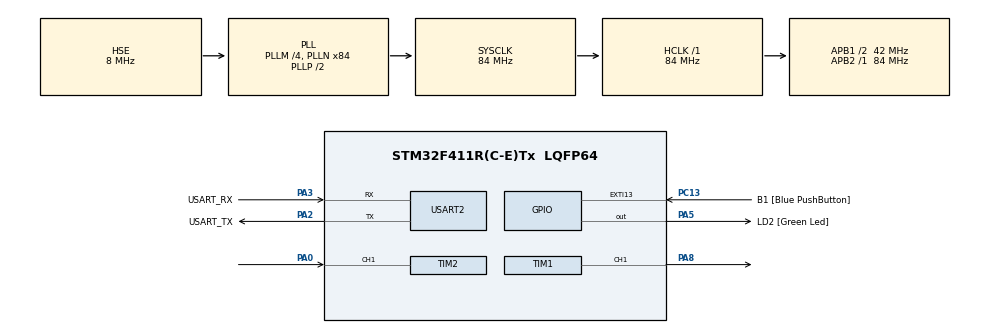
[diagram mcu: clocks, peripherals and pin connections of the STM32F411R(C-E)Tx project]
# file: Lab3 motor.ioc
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Dma.Request0=TIM2_CH1
Dma.TIM2_CH1.0.Direction=DMA_PERIPH_TO_MEMORY
Dma.TIM2_CH1.0.FIFOMode=DMA_FIFOMODE_DISABLE
Dma.TIM2_CH1.0.Instance=DMA1_Stream5
Dma.TIM2_CH1.0.MemDataAlignment=DMA_MDATAALIGN_WORD
Dma.TIM2_CH1.0.MemInc=DMA_MINC_ENABLE
Dma.TIM2_CH1.0.Mode=DMA_CIRCULAR
Dma.TIM2_CH1.0.PeriphDataAlignment=DMA_PDATAALIGN_WORD
Dma.TIM2_CH1.0.PeriphInc=DMA_PINC_DISABLE
Dma.TIM2_CH1.0.Priority=DMA_PRIORITY_LOW
Mcu.Family=STM32F4
Mcu.Name=STM32F411R(C-E)Tx
Mcu.Package=LQFP64
NVIC.DMA1_Stream5_IRQn=true\:0\:0\:false\:false\:true\:false\:true\:true
NVIC.PriorityGroup=NVIC_PRIORITYGROUP_0
PA0-WKUP.Signal=S_TIM2_CH1_ETR
PA13.GPIO_Label=TMS
PA13.Mode=Serial_Wire
PA13.Signal=SYS_JTMS-SWDIO
PA14.GPIO_Label=TCK
PA14.Mode=Serial_Wire
PA14.Signal=SYS_JTCK-SWCLK
PA2.GPIO_Label=USART_TX
PA2.Mode=Asynchronous
PA2.Signal=USART2_TX
PA3.GPIO_Label=USART_RX
PA3.Mode=Asynchronous
PA3.Signal=USART2_RX
PA5.GPIO_Label=LD2 [Green Led]
PA5.Signal=GPIO_Output
PA8.Signal=S_TIM1_CH1
PB3.GPIO_Label=SWO
PB3.Signal=SYS_JTDO-SWO
PC13-ANTI_TAMP.GPIO_Label=B1 [Blue PushButton]
PC13-ANTI_TAMP.GPIO_ModeDefaultEXTI=GPIO_MODE_IT_FALLING
PC13-ANTI_TAMP.Signal=GPXTI13
PC14-OSC32_IN.Mode=LSE-External-Oscillator
PC14-OSC32_IN.Signal=RCC_OSC32_IN
PC15-OSC32_OUT.Mode=LSE-External-Oscillator
PC15-OSC32_OUT.Signal=RCC_OSC32_OUT
PH0\ -\ OSC_IN.Mode=HSE-External-Clock-Source
PH0\ -\ OSC_IN.Signal=RCC_OSC_IN
PH1\ -\ OSC_OUT.Mode=HSE-External-Clock-Source
PH1\ -\ OSC_OUT.Signal=RCC_OSC_OUT
ProjectManager.HeapSize=0x200
ProjectManager.StackSize=0x400
ProjectManager.TargetToolchain=STM32CubeIDE
RCC.48MHZClocksFreq_Value=42000000
RCC.AHBFreq_Value=84000000
RCC.APB1CLKDivider=RCC_HCLK_DIV2
RCC.APB1Freq_Value=42000000
RCC.APB1TimFreq_Value=84000000
RCC.APB2Freq_Value=84000000
RCC.APB2TimFreq_Value=84000000
RCC.CortexFreq_Value=84000000
RCC.FLatency-AdvancedSettings=FLASH_LATENCY_2
RCC.HCLKFreq_Value=84000000
RCC.HSE_VALUE=8000000
RCC.HSI_VALUE=16000000
RCC.PLLM=4
RCC.PLLN=84
RCC.PLLSourceVirtual=RCC_PLLSOURCE_HSE
RCC.SYSCLKFreq_VALUE=84000000
RCC.SYSCLKSource=RCC_SYSCLKSOURCE_PLLCLK
RCC.VCOOutputFreq_Value=168000000
SH.S_TIM1_CH1.0=TIM1_CH1,PWM Generation1 CH1
SH.S_TIM2_CH1_ETR.0=TIM2_CH1,Input_Capture1_from_TI1
TIM1.Channel-PWM\ Generation1\ CH1=TIM_CHANNEL_1
TIM1.Period=999
TIM1.Prescaler=83
TIM1.Pulse-PWM\ Generation1\ CH1=500
TIM2.Channel-Input_Capture1_from_TI1=TIM_CHANNEL_1
TIM2.ICFilter_CH1=10
TIM2.Period=4294967295
TIM2.Prescaler=83
USART2.VirtualMode=VM_ASYNC
VP_TIM1_VS_ClockSourceINT.Mode=Internal
VP_TIM2_VS_ClockSourceINT.Mode=Internal
board=NUCLEO-F411RE

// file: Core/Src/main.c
/* USER CODE BEGIN Header */
/**
  ******************************************************************************
  * @file           : main.c
  * @brief          : Main program body
  ******************************************************************************
  * @attention
  *
  * Copyright (c) 2023 STMicroelectronics.
  * All rights reserved.
  *
  * This software is licensed under terms that can be found in the LICENSE file
  * in the root directory of this software component.
  * If no LICENSE file comes with this software, it is provided AS-IS.
  *
  ******************************************************************************
  */
/* USER CODE END Header */
#include "main.h"

/* USER CODE BEGIN Includes */
#define IC_BUFFER_SIZE 20
//Phanwaphat Lohasummakul 69
/* USER CODE END Includes */

TIM_HandleTypeDef htim1;
TIM_HandleTypeDef htim2;
DMA_HandleTypeDef hdma_tim2_ch1;

UART_HandleTypeDef huart2;

/* USER CODE BEGIN PV */
uint32_t InputCaptureBuffer[IC_BUFFER_SIZE];
float averageRisingedgePeriod_current;
float averageRisingedgePeriod_last;
float MotorReadRPM;
int MotorSetRPM = 0;
int MotorControlEnable = 0;
int MotorSetDuty = 0;
int x = 0;
int y = 0;
/* USER CODE END PV */

void SystemClock_Config(void);
static void MX_GPIO_Init(void);
static void MX_DMA_Init(void);
static void MX_USART2_UART_Init(void);
static void MX_TIM1_Init(void);
static void MX_TIM2_Init(void);
/* USER CODE BEGIN PFP */
float IC_Calc_Period();
/* USER CODE END PFP */

int main(void)
{

  /* MCU Configuration--------------------------------------------------------*/

  /* Reset of all peripherals, Initializes the Flash interface and the Systick. */
  HAL_Init();

  /* Configure the system clock */
  SystemClock_Config();

  /* Initialize all configured peripherals */
  MX_GPIO_Init();
  MX_DMA_Init();
  MX_USART2_UART_Init();
  MX_TIM1_Init();
  MX_TIM2_Init();
  /* USER CODE BEGIN 2 */
  HAL_TIM_Base_Start(&htim2);
  HAL_TIM_IC_Start_DMA(&htim2, TIM_CHANNEL_1, InputCaptureBuffer, IC_BUFFER_SIZE);

  HAL_TIM_Base_Start(&htim1);
  HAL_TIM_PWM_Start(&htim1, TIM_CHANNEL_1);
  /* USER CODE END 2 */

  /* Infinite loop */
  while (1)
  {

    /* USER CODE BEGIN 3 */
	static uint32_t timestamp = 0;
	if (HAL_GetTick() >= timestamp)
	{
	  timestamp = HAL_GetTick()+500;
	  averageRisingedgePeriod_current = IC_Calc_Period();
	  if(averageRisingedgePeriod_current == 0) MotorReadRPM = 0;
	  else MotorReadRPM = 60000000/(averageRisingedgePeriod_current*12*64);

//	  __HAL_TIM_SET_COMPARE(&htim1, TIM_CHANNEL_1,MotorSetDuty*10);

	  switch(MotorControlEnable)
	  {
	  case 0:
		  __HAL_TIM_SET_COMPARE(&htim1, TIM_CHANNEL_1,MotorSetDuty*10);

		  x = 0;

		  break;
	  case 1:
		  if (MotorSetRPM > MotorReadRPM)
		  {
			  x += 1;
			  y = MotorSetDuty+x;
			  if ((MotorSetDuty+x) <= 100)
				  __HAL_TIM_SET_COMPARE(&htim1, TIM_CHANNEL_1,(MotorSetDuty+x)*10);
			  else
			  {
				  __HAL_TIM_SET_COMPARE(&htim1, TIM_CHANNEL_1,100*10);
				  x -= 1;
			  }
		  }
		  else if (MotorSetRPM < MotorReadRPM)
		  {
			  x -= 1;
			  y = MotorSetDuty+x;
			  if ((MotorSetDuty+x) > 0)
				  __HAL_TIM_SET_COMPARE(&htim1, TIM_CHANNEL_1,(MotorSetDuty+x)*10);
			  else
			  {
				  __HAL_TIM_SET_COMPARE(&htim1, TIM_CHANNEL_1,0*10);
				  MotorReadRPM = 0;
				  x += 1;
			  }
		  }
//		  else if (MotorSetRPM == 0)
//		  {
//
//		  }
		  break;
	  }
	}

  }
  /* USER CODE END 3 */
}

void SystemClock_Config(void)
{
  RCC_OscInitTypeDef RCC_OscInitStruct = {0};
  RCC_ClkInitTypeDef RCC_ClkInitStruct = {0};

  /** Configure the main internal regulator output voltage
  */
  __HAL_RCC_PWR_CLK_ENABLE();
  __HAL_PWR_VOLTAGESCALING_CONFIG(PWR_REGULATOR_VOLTAGE_SCALE1);

  /** Initializes the RCC Oscillators according to the specified parameters
  * in the RCC_OscInitTypeDef structure.
  */
  RCC_OscInitStruct.OscillatorType = RCC_OSCILLATORTYPE_HSE;
  RCC_OscInitStruct.HSEState = RCC_HSE_BYPASS;
  RCC_OscInitStruct.PLL.PLLState = RCC_PLL_ON;
  RCC_OscInitStruct.PLL.PLLSource = RCC_PLLSOURCE_HSE;
  RCC_OscInitStruct.PLL.PLLM = 4;
  RCC_OscInitStruct.PLL.PLLN = 84;
  RCC_OscInitStruct.PLL.PLLP = RCC_PLLP_DIV2;
  RCC_OscInitStruct.PLL.PLLQ = 4;
  if (HAL_RCC_OscConfig(&RCC_OscInitStruct) != HAL_OK)
  {
    Error_Handler();
  }

  /** Initializes the CPU, AHB and APB buses clocks
  */
  RCC_ClkInitStruct.ClockType = RCC_CLOCKTYPE_HCLK|RCC_CLOCKTYPE_SYSCLK
                              |RCC_CLOCKTYPE_PCLK1|RCC_CLOCKTYPE_PCLK2;
  RCC_ClkInitStruct.SYSCLKSource = RCC_SYSCLKSOURCE_PLLCLK;
  RCC_ClkInitStruct.AHBCLKDivider = RCC_SYSCLK_DIV1;
  RCC_ClkInitStruct.APB1CLKDivider = RCC_HCLK_DIV2;
  RCC_ClkInitStruct.APB2CLKDivider = RCC_HCLK_DIV1;

  if (HAL_RCC_ClockConfig(&RCC_ClkInitStruct, FLASH_LATENCY_2) != HAL_OK)
  {
    Error_Handler();
  }
}

static void MX_TIM1_Init(void)
{

  TIM_ClockConfigTypeDef sClockSourceConfig = {0};
  TIM_MasterConfigTypeDef sMasterConfig = {0};
  TIM_OC_InitTypeDef sConfigOC = {0};
  TIM_BreakDeadTimeConfigTypeDef sBreakDeadTimeConfig = {0};

  htim1.Instance = TIM1;
  htim1.Init.Prescaler = 83;
  htim1.Init.CounterMode = TIM_COUNTERMODE_UP;
  htim1.Init.Period = 999;
  htim1.Init.ClockDivision = TIM_CLOCKDIVISION_DIV1;
  htim1.Init.RepetitionCounter = 0;
  htim1.Init.AutoReloadPreload = TIM_AUTORELOAD_PRELOAD_DISABLE;
  if (HAL_TIM_Base_Init(&htim1) != HAL_OK)
  {
    Error_Handler();
  }
  sClockSourceConfig.ClockSource = TIM_CLOCKSOURCE_INTERNAL;
  if (HAL_TIM_ConfigClockSource(&htim1, &sClockSourceConfig) != HAL_OK)
  {
    Error_Handler();
  }
  if (HAL_TIM_PWM_Init(&htim1) != HAL_OK)
  {
    Error_Handler();
  }
  sMasterConfig.MasterOutputTrigger = TIM_TRGO_RESET;
  sMasterConfig.MasterSlaveMode = TIM_MASTERSLAVEMODE_DISABLE;
  if (HAL_TIMEx_MasterConfigSynchronization(&htim1, &sMasterConfig) != HAL_OK)
  {
    Error_Handler();
  }
  sConfigOC.OCMode = TIM_OCMODE_PWM1;
  sConfigOC.Pulse = 500;
  sConfigOC.OCPolarity = TIM_OCPOLARITY_HIGH;
  sConfigOC.OCNPolarity = TIM_OCNPOLARITY_HIGH;
  sConfigOC.OCFastMode = TIM_OCFAST_DISABLE;
  sConfigOC.OCIdleState = TIM_OCIDLESTATE_RESET;
  sConfigOC.OCNIdleState = TIM_OCNIDLESTATE_RESET;
  if (HAL_TIM_PWM_ConfigChannel(&htim1, &sConfigOC, TIM_CHANNEL_1) != HAL_OK)
  {
    Error_Handler();
  }
  sBreakDeadTimeConfig.OffStateRunMode = TIM_OSSR_DISABLE;
  sBreakDeadTimeConfig.OffStateIDLEMode = TIM_OSSI_DISABLE;
  sBreakDeadTimeConfig.LockLevel = TIM_LOCKLEVEL_OFF;
  sBreakDeadTimeConfig.DeadTime = 0;
  sBreakDeadTimeConfig.BreakState = TIM_BREAK_DISABLE;
  sBreakDeadTimeConfig.BreakPolarity = TIM_BREAKPOLARITY_HIGH;
  sBreakDeadTimeConfig.AutomaticOutput = TIM_AUTOMATICOUTPUT_DISABLE;
  if (HAL_TIMEx_ConfigBreakDeadTime(&htim1, &sBreakDeadTimeConfig) != HAL_OK)
  {
    Error_Handler();
  }
  HAL_TIM_MspPostInit(&htim1);

}

static void MX_TIM2_Init(void)
{

  TIM_ClockConfigTypeDef sClockSourceConfig = {0};
  TIM_MasterConfigTypeDef sMasterConfig = {0};
  TIM_IC_InitTypeDef sConfigIC = {0};

  htim2.Instance = TIM2;
  htim2.Init.Prescaler = 83;
  htim2.Init.CounterMode = TIM_COUNTERMODE_UP;
  htim2.Init.Period = 4294967295;
  htim2.Init.ClockDivision = TIM_CLOCKDIVISION_DIV1;
  htim2.Init.AutoReloadPreload = TIM_AUTORELOAD_PRELOAD_DISABLE;
  if (HAL_TIM_Base_Init(&htim2) != HAL_OK)
  {
    Error_Handler();
  }
  sClockSourceConfig.ClockSource = TIM_CLOCKSOURCE_INTERNAL;
  if (HAL_TIM_ConfigClockSource(&htim2, &sClockSourceConfig) != HAL_OK)
  {
    Error_Handler();
  }
  if (HAL_TIM_IC_Init(&htim2) != HAL_OK)
  {
    Error_Handler();
  }
  sMasterConfig.MasterOutputTrigger = TIM_TRGO_RESET;
  sMasterConfig.MasterSlaveMode = TIM_MASTERSLAVEMODE_DISABLE;
  if (HAL_TIMEx_MasterConfigSynchronization(&htim2, &sMasterConfig) != HAL_OK)
  {
    Error_Handler();
  }
  sConfigIC.ICPolarity = TIM_INPUTCHANNELPOLARITY_RISING;
  sConfigIC.ICSelection = TIM_ICSELECTION_DIRECTTI;
  sConfigIC.ICPrescaler = TIM_ICPSC_DIV1;
  sConfigIC.ICFilter = 10;
  if (HAL_TIM_IC_ConfigChannel(&htim2, &sConfigIC, TIM_CHANNEL_1) != HAL_OK)
  {
    Error_Handler();
  }

}

static void MX_USART2_UART_Init(void)
{

  huart2.Instance = USART2;
  huart2.Init.BaudRate = 115200;
  huart2.Init.WordLength = UART_WORDLENGTH_8B;
  huart2.Init.StopBits = UART_STOPBITS_1;
  huart2.Init.Parity = UART_PARITY_NONE;
  huart2.Init.Mode = UART_MODE_TX_RX;
  huart2.Init.HwFlowCtl = UART_HWCONTROL_NONE;
  huart2.Init.OverSampling = UART_OVERSAMPLING_16;
  if (HAL_UART_Init(&huart2) != HAL_OK)
  {
    Error_Handler();
  }

}

static void MX_DMA_Init(void)
{

  /* DMA controller clock enable */
  __HAL_RCC_DMA1_CLK_ENABLE();

  /* DMA interrupt init */
  /* DMA1_Stream5_IRQn interrupt configuration */
  HAL_NVIC_SetPriority(DMA1_Stream5_IRQn, 0, 0);
  HAL_NVIC_EnableIRQ(DMA1_Stream5_IRQn);

}

static void MX_GPIO_Init(void)
{
  GPIO_InitTypeDef GPIO_InitStruct = {0};

  /* GPIO Ports Clock Enable */
  __HAL_RCC_GPIOC_CLK_ENABLE();
  __HAL_RCC_GPIOH_CLK_ENABLE();
  __HAL_RCC_GPIOA_CLK_ENABLE();
  __HAL_RCC_GPIOB_CLK_ENABLE();

  /*Configure GPIO pin Output Level */
  HAL_GPIO_WritePin(LD2_GPIO_Port, LD2_Pin, GPIO_PIN_RESET);

  /*Configure GPIO pin : B1_Pin */
  GPIO_InitStruct.Pin = B1_Pin;
  GPIO_InitStruct.Mode = GPIO_MODE_IT_FALLING;
  GPIO_InitStruct.Pull = GPIO_NOPULL;
  HAL_GPIO_Init(B1_GPIO_Port, &GPIO_InitStruct);

  /*Configure GPIO pin : LD2_Pin */
  GPIO_InitStruct.Pin = LD2_Pin;
  GPIO_InitStruct.Mode = GPIO_MODE_OUTPUT_PP;
  GPIO_InitStruct.Pull = GPIO_NOPULL;
  GPIO_InitStruct.Speed = GPIO_SPEED_FREQ_LOW;
  HAL_GPIO_Init(LD2_GPIO_Port, &GPIO_InitStruct);

}

/* USER CODE BEGIN 4 */
float IC_Calc_Period()
{
	uint32_t currentDMAPointer = IC_BUFFER_SIZE - __HAL_DMA_GET_COUNTER((htim2.hdma[1]));

	uint32_t lastValidDMAPointer = (currentDMAPointer-1 + IC_BUFFER_SIZE)%IC_BUFFER_SIZE;

	uint32_t i = (lastValidDMAPointer - 5 + IC_BUFFER_SIZE)%IC_BUFFER_SIZE;

	uint32_t sumdiff = 0;
	while(i!=lastValidDMAPointer)
	{
		uint32_t firstCapture  = InputCaptureBuffer[i];

		uint32_t NextCapture = InputCaptureBuffer[(i+1)%IC_BUFFER_SIZE];

		sumdiff += NextCapture - firstCapture;
		i = (i+1)% IC_BUFFER_SIZE;
	}
	return sumdiff / 5.0;
}
/* USER CODE END 4 */

void Error_Handler(void)
{
  __disable_irq();
  while (1)
  {
  }
}
